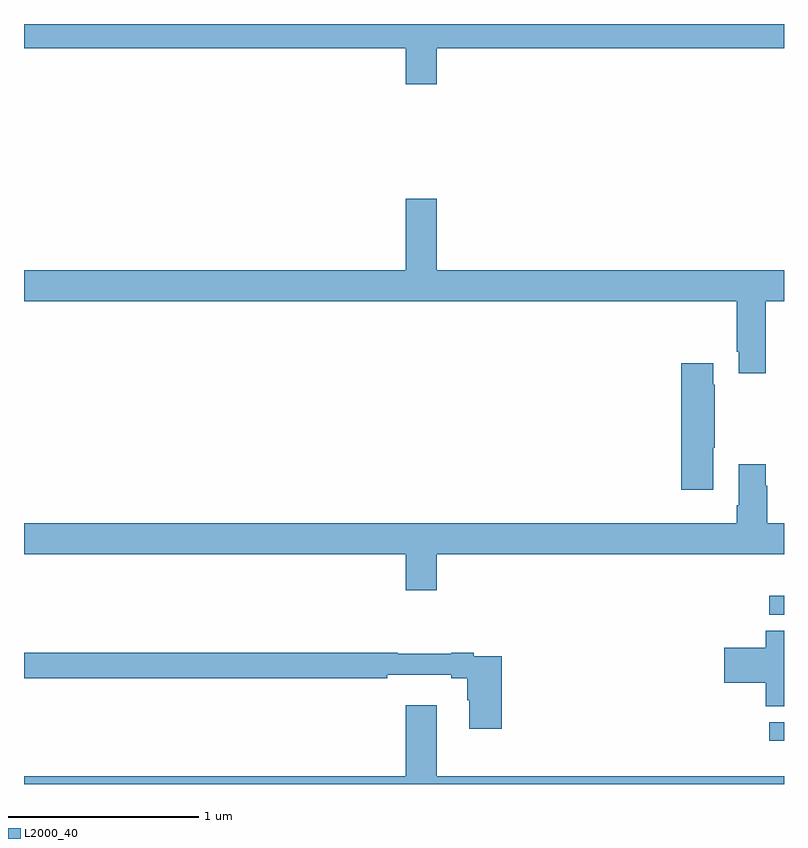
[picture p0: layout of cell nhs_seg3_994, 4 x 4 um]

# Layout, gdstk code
import gdstk
lib = gdstk.Library(unit=1e-6, precision=1e-09)
def R(c, l, rs):  # rectangles x0, y0, x1, y1
    for r in rs: c.add(gdstk.rectangle(r[:2], r[2:], *l))
def P(c, l, *ps):  # polygons
    for p in ps: c.add(gdstk.Polygon(p, *l))
L2000_40 = (2000, 40)

nhs_seg3_994 = lib.new_cell('nhs_seg3_994')
R(nhs_seg3_994, L2000_40, [(166.923,674.628,167,674.724), (166.923,675.291,167,675.39)])
P(nhs_seg3_994, L2000_40, [(165.172,678.272),(167,678.272),(167,678.4),(163,678.4),(163,678.272),(165.008,678.272),(165.008,678.084),(165.172,678.084)],
  [(166.903,676.94),(167,676.94),(167,677.104),(165.172,677.104),(165.172,677.479),(165.008,677.479),(165.008,677.104),(163,677.104),(163,676.94),(166.751,676.94),(166.751,676.675),(166.763,676.675),(166.763,676.563),(166.903,676.563)],
  [(166.627,676.171),(166.635,676.171),(166.635,676.502),(166.627,676.502),(166.627,676.615),(166.46,676.615),(166.46,675.948),(166.627,675.948)],
  [(165.172,675.608),(167,675.608),(167,675.772),(166.911,675.772),(166.911,675.971),(166.903,675.971),(166.903,676.084),(166.763,676.084),(166.763,675.868),(166.751,675.868),(166.751,675.772),(163,675.772),(163,675.608),(165.008,675.608),(165.008,675.42),(165.172,675.42)],
  [(167,675.206),(166.904,675.206),(166.904,675.116),(166.686,675.116),(166.686,674.933),(166.904,674.933),(166.904,674.809),(167,674.809)],
  [(165.515,675.072),(165.368,675.072),(165.368,675.092),(165.248,675.092),(165.248,675.085),(164.968,675.085),(164.968,675.092),(163,675.092),(163,674.956),(164.912,674.956),(164.912,674.975),(165.248,674.975),(165.248,674.956),(165.332,674.956),(165.332,674.841),(165.344,674.841),(165.344,674.691),(165.515,674.691)],
  [(167,674.44),(165.172,674.44),(165.172,674.815),(165.008,674.815),(165.008,674.44),(163,674.44),(163,674.4),(167,674.4)])

lib.write_gds('nhs_seg3_994.gds')
